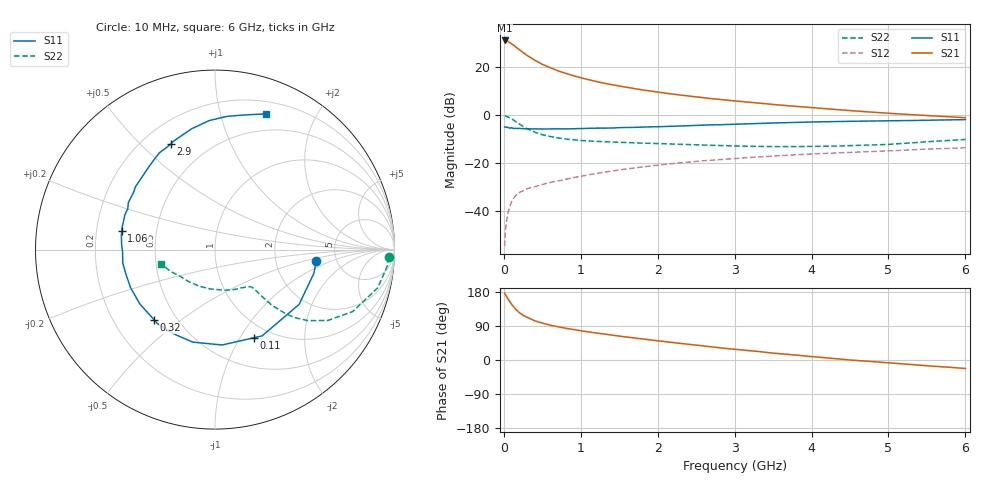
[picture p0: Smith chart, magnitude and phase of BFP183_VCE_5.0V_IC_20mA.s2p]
! Infineon Technologies  Discrete & RF Semiconductors
! BFP183
! VCE = 5.0 V,  IC =  20 mA
! Common Emitter S-Parameters:  Jan 2016
# GHz  S  MA  R  50
!  f  S11  S21  S12  S22
! GHz  MAG  ANG  MAG  ANG  MAG  ANG  MAG  ANG
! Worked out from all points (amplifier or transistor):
!   210 points, 10 MHz to 6 GHz, reference 50 ohm
!   highest |S21| = 31.3 dB at 10 MHz (marker M1)
!   |S21| within 3 dB of that: start of sweep to 167.9 MHz
!   unconditionally stable (mu >= 1): 877.6 MHz to 5.653 GHz
!   at 185 MHz: K = 0.37, MSG = 30.4 dB, |S12| = -32.8 dB
!   at 1.52 GHz: K = 1.12, MAG = 15.4 dB, |S12| = -22.8 dB
!   at 6 GHz: K = 0.95, MSG = 6.3 dB, |S12| = -13.7 dB
!   S11 on the Smith chart (normalised r, x): 10 MHz: 3.48, -0.68; 110 MHz: 0.83, -1.15; 320 MHz: 0.38, -0.40; 1.06 GHz: 0.31, +0.09; 2.9 GHz: 0.31, +0.62; 6 GHz: 0.32, +1.39
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0.01  0.5677 -6.7  36.76 176.1  0.0018 87.7  0.9692 -2.5
0.02  0.5664 -13.5  36.68 172.8  0.0036 85.3  0.9646 -5.4
0.05  0.5594 -33.1  35.51 162.0  0.0084 79.3  0.9316 -13.2
0.1  0.5477 -61.4  31.43 146.9  0.0153 65.4  0.8408 -24.3
0.11  0.5371 -66.1  30.53 144.7  0.0163 63.7  0.8198 -25.7
0.15  0.533 -85.7  27.44 134.4  0.0203 58.4  0.7415 -32.2
0.2  0.5301 -103.5  23.7 125.1  0.0239 54.1  0.6515 -37.4
0.26  0.5218 -119.2  19.91 116.9  0.0265 50.9  0.5678 -41.0
0.32  0.5177 -131.0  17.19 110.9  0.0293 49.7  0.5047 -42.8
0.4  0.517 -144.1  14.22 103.4  0.0319 48.4  0.4407 -44.4
0.5  0.516 -155.9  11.62 97.1  0.0353 48.5  0.3895 -44.8
0.56  0.5138 -161.2  10.58 94.2  0.0375 48.9  0.3697 -44.9
0.7  0.5194 -171.9  8.505 87.7  0.0417 50.3  0.3333 -44.8
1.02  0.5285 170.3  5.953 76.6  0.053 51.9  0.2934 -45.6
1.06  0.53 168.5  5.746 75.3  0.0547 52.1  0.2905 -45.9
1.5  0.5493 151.6  4.073 63.0  0.0714 51.9  0.2697 -50.4
2.02  0.5739 135.0  3.002 50.3  0.0904 49.2  0.2542 -58.9
2.9  0.6385 112.7  2.061 30.3  0.1207 42.3  0.229 -79.7
3.1  0.6538 108.6  1.921 26.4  0.1269 40.6  0.224 -85.2
4.1  0.7238 91.0  1.398 7.3  0.1564 31.7  0.2222 -116.3
5.1  0.7654 78.3  1.07 -8.8  0.1816 24.3  0.2502 -145.0
6  0.8075 69.4  0.886 -22.4  0.2071 16.0  0.3098 -165.3
